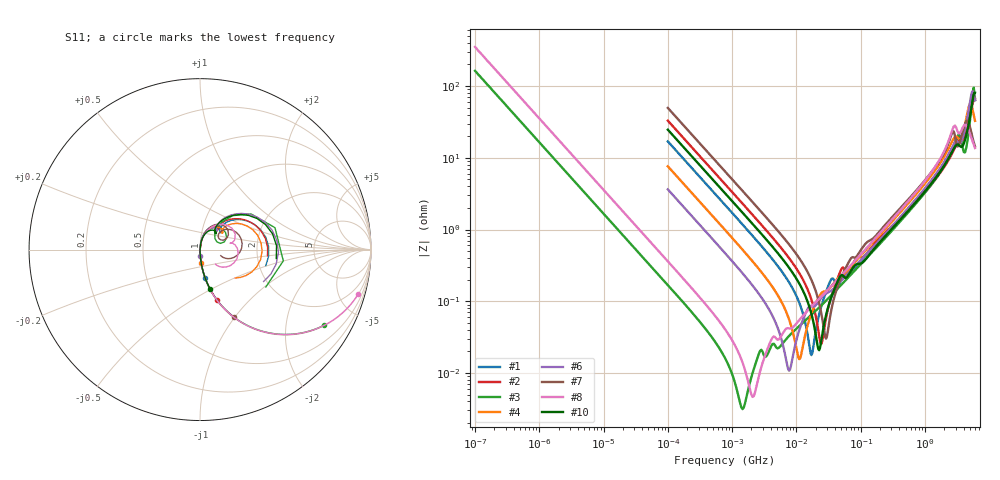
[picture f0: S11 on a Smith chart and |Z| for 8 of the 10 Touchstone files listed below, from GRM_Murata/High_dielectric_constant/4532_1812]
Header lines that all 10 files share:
!These Parameters are Measured in Series Mode Connection
!Data Generated on Mar 30, 2021
!  o--ll--o
!Port1  Port2
!  o------o
!Operation Temp=25[degC], DC Bias Voltage=0[V]
# Hz S RI R 50
!Freq.(Hz) S11(Real) S11(Imag) S21(Real) S21(Imag) S12(Real) S12(Imag) S22(Real) S22(Imag)
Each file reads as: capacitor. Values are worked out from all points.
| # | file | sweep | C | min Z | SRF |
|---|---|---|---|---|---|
| 1 | GRM43DR7LW104KW01.s2p | 100 kHz to 6 GHz | 93.9 nF | 17.7 mohm | 17.21 MHz |
| 2 | GRM43DR7LX473KW01.s2p | 100 kHz to 6 GHz | 48.2 nF | 25.5 mohm | 24.37 MHz |
| 3 | GRM43DR61E106KA12.s2p | 100 Hz to 6 GHz | 9.73 uF | 3.13 mohm | 1.479 MHz |
| 4 | GRM43DR72E224KW01.s2p | 100 kHz to 6 GHz | 209 nF | 15.6 mohm | 11.2 MHz |
| 5 | GRM43DR72E334KW01.s2p | 100 kHz to 6 GHz | 310 nF | 12.3 mohm | 9.028 MHz |
| 6 | GRM43DR72E474KW01.s2p | 100 kHz to 6 GHz | 438 nF | 10.8 mohm | 7.776 MHz |
| 7 | GRM43DR73A333KW01.s2p | 100 kHz to 6 GHz | 32 nF | 30 mohm | 28.94 MHz |
| 8 | GRM43EB31H475KA88.s2p | 100 Hz to 6 GHz | 4.52 uF | 4.63 mohm | 2.126 MHz |
| 9 | GRM43ER11H225KA01.s2p | 100 Hz to 6 GHz | 2.16 uF | 6.16 mohm | 3.283 MHz |
| 10 | GRM43QR7LW683KW01.s2p | 100 kHz to 6 GHz | 64.5 nF | 20.8 mohm | 22.57 MHz |
